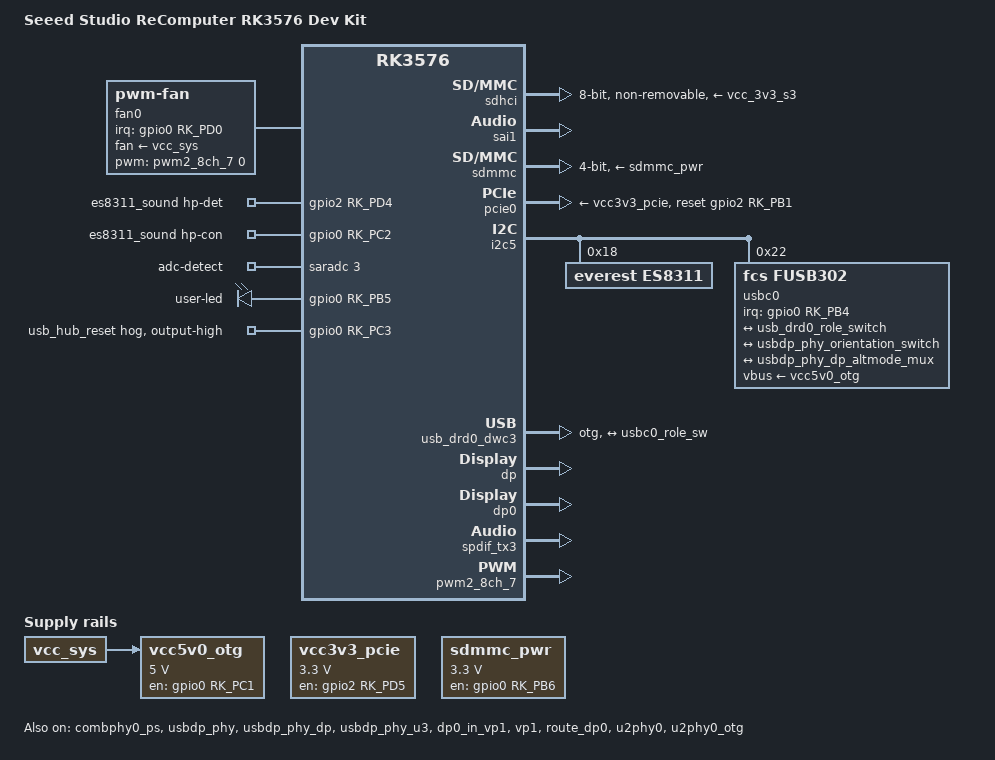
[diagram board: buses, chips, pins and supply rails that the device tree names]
// SPDX-License-Identifier: (GPL-2.0+ OR MIT)
/*
 * reComputer RK3576 Module Dev Kit
 *
 * Copyright (c) 2026 Seeed Studio
 */

/dts-v1/;
#include "rk3576-recomputer-som.dtsi"
#include "rk3576-recomputer-som-emmc.dtsi"
#include "rk3576-recomputer-som-cam.dtsi"
#include "rk3576-recomputer-som-cam0-i2c5-m2.dtsi"
#include "rk3576-recomputer-som-cam1-i2c6-m3.dtsi"
/ {
	model = "Seeed Studio ReComputer RK3576 Dev Kit";
	compatible = "seeed,recomputer rk3576 devkit", "rockchip,rk3576";

	/delete-node/ chosen;

	fan0: pwm-fan {
		status = "okay";
		compatible = "pwm-fan";
		#cooling-cells = <2>;
		cooling-levels = <0 50 100 150 200 255>;
		fan-supply = <&vcc_sys>;
		pwms = <&pwm2_8ch_7 0 60000 0>;

		interrupt-parent = <&gpio0>;
		interrupts = <RK_PD0 IRQ_TYPE_EDGE_BOTH>;
		pulses-per-revolution = <4>;
		pinctrl-names = "default";
		pinctrl-0 = <&fan_tach>;

		rockchip,temp-trips = <
            45000    1
            50000    2
            60000    3
            70000    4
            80000    5
        >;
	};

	vcc5v0_otg: vcc5v0-otg {
		compatible = "regulator-fixed";
		regulator-name = "vcc5v0_otg";
		regulator-min-microvolt = <5000000>;
		regulator-max-microvolt = <5000000>;
		enable-active-high;
		gpio = <&gpio0 RK_PC1 GPIO_ACTIVE_HIGH>;
		vin-supply = <&vcc_sys>;
		pinctrl-names = "default";
		pinctrl-0 = <&vcc5v0_otg_en>;
	};


	vcc3v3_pcie: vcc3v3-pcie {
		compatible = "regulator-fixed";
		regulator-name = "vcc3v3_pcie";
		regulator-min-microvolt = <3300000>;
		regulator-max-microvolt = <3300000>;
		enable-active-high;
		gpios = <&gpio2 RK_PD5 GPIO_ACTIVE_HIGH>;
		startup-delay-us = <5000>;
		pinctrl-names = "default";
		pinctrl-0 = <&pcie_pwr_en>;
	};

	sdmmc_pwr: sdmmc-pwr {
		compatible = "regulator-fixed";
		regulator-name = "sdmmc_pwr";
		regulator-min-microvolt = <3300000>;
		regulator-max-microvolt = <3300000>;
		enable-active-high;
		regulator-boot-on;
		regulator-always-on;
		gpios = <&gpio0 RK_PB6 GPIO_ACTIVE_HIGH>;
		pinctrl-names = "default";
		pinctrl-0 = <&sdmmc_pwr_en>;
	};

	dp0_sound: dp0-sound {
		compatible = "rockchip,hdmi";
		rockchip,mclk-fs = <512>;
		rockchip,card-name = "rockchip-dp0";
		rockchip,cpu = <&spdif_tx3>;
		rockchip,codec = <&dp0 1>;
		rockchip,jack-det;
	};


	es8311_sound: es8311-sound {
		status = "okay";
		compatible = "rockchip,multicodecs-card";
		rockchip,card-name = "rockchip-es8311";
		io-channels = <&saradc 3>;
		io-channel-names = "adc-detect";
		keyup-threshold-microvolt = <1800000>;
		poll-interval = <100>;
		hp-det-gpio = <&gpio2 RK_PD4 GPIO_ACTIVE_HIGH>;
		hp-con-gpio = <&gpio0 RK_PC2 GPIO_ACTIVE_HIGH>;
		rockchip,pre-power-on-delay-ms = <30>;
		rockchip,post-power-down-delay-ms = <40>;
		rockchip,format = "i2s";
		rockchip,mclk-fs = <256>;
		rockchip,cpu = <&sai1>;
		rockchip,codec = <&es8311>;
        rockchip,audio-routing =
            /* Playback path - Headphone from differential output */
            "Headphone", "DIFFERENTIAL OUT",
            /* Capture path - Analog microphone */
            "AMIC", "Main Mic",
            "AMIC", "Headset Mic";
		pinctrl-names = "default";
		pinctrl-0 = <&hp_det &hp_con>;
	};

	gpio-leds {
		compatible = "gpio-leds";

		// power-led {
		// 	gpios = <&gpio0 RK_PB4 GPIO_ACTIVE_HIGH>;
		// 	linux,default-trigger = "default-on";
		// };

		user-led {
			gpios = <&gpio0 RK_PB5 GPIO_ACTIVE_HIGH>;
			linux,default-trigger = "heartbeat";
		};
	};
};


&gpio0 {
    usb_hub_reset_hog: usb-hub-reset-hog {
        gpio-hog;
        gpios = <RK_PC3 GPIO_ACTIVE_HIGH>;
        output-high;              
        line-name = "usb_hub_reset";
    };
};

/*
 * Without this the OPP framework rejects all OPPs because
 * rockchip,supported-hw is set (bin-based matching) but the
 */
&gpu_opp_table {
	/delete-node/ opp-300000000;
	/delete-node/ opp-400000000;
	/delete-node/ opp-500000000;
	/delete-node/ opp-600000000;
	/delete-node/ opp-700000000;
	/delete-node/ opp-800000000;
	/delete-node/ opp-900000000;

	opp-300000000 {
		opp-hz = /bits/ 64 <300000000>;
		opp-microvolt = <712500 712500 875000>;
	};
	opp-400000000 {
		opp-hz = /bits/ 64 <400000000>;
		opp-microvolt = <712500 712500 875000>;
	};
	opp-500000000 {
		opp-hz = /bits/ 64 <500000000>;
		opp-microvolt = <712500 712500 875000>;
	};
	opp-600000000 {
		opp-hz = /bits/ 64 <600000000>;
		opp-microvolt = <712500 712500 875000>;
	};
	opp-700000000 {
		opp-hz = /bits/ 64 <700000000>;
		opp-microvolt = <712500 712500 875000>;
		opp-microvolt-L0 = <750000 750000 875000>;
		opp-microvolt-L1 = <750000 750000 875000>;
		opp-microvolt-L2 = <737500 737500 875000>;
		opp-microvolt-L3 = <725000 725000 875000>;
		opp-microvolt-L4 = <725000 725000 875000>;
	};
	opp-800000000 {
		opp-hz = /bits/ 64 <800000000>;
		opp-microvolt = <812500 812500 875000>;
		opp-microvolt-L1 = <812500 812500 875000>;
		opp-microvolt-L2 = <800000 800000 875000>;
		opp-microvolt-L3 = <787500 787500 875000>;
		opp-microvolt-L4 = <775000 775000 875000>;
		opp-microvolt-L5 = <762500 762500 875000>;
		opp-microvolt-L6 = <750000 750000 875000>;
		opp-microvolt-L7 = <737500 737500 875000>;
		opp-microvolt-L8 = <725000 725000 875000>;
		opp-microvolt-L9 = <725000 725000 875000>;
		opp-microvolt-L10 = <725000 725000 875000>;
	};
	opp-900000000 {
		opp-hz = /bits/ 64 <900000000>;
		opp-microvolt = <875000 875000 875000>;
		opp-microvolt-L1 = <875000 875000 875000>;
		opp-microvolt-L2 = <862500 862500 875000>;
		opp-microvolt-L3 = <850000 850000 875000>;
		opp-microvolt-L4 = <837500 837500 875000>;
		opp-microvolt-L5 = <825000 825000 875000>;
		opp-microvolt-L6 = <812500 812500 875000>;
		opp-microvolt-L7 = <800000 800000 875000>;
		opp-microvolt-L8 = <787500 787500 875000>;
		opp-microvolt-L9 = <775000 775000 875000>;
		opp-microvolt-L10 = <762500 762500 875000>;
	};
};

&threshold {
	temperature = <60000>;
};

&little_core_thermal {
	sustainable-power = <5000>; /* milliwatts */
	cooling-maps {
		map3 {
			trip = <&target>;
			cooling-device =
				<&fan0 THERMAL_NO_LIMIT THERMAL_NO_LIMIT>;
			contribution = <8192>;
		};
		map4 {
			trip = <&threshold>;
			cooling-device =
				<&fan0 THERMAL_NO_LIMIT THERMAL_NO_LIMIT>;
			contribution = <8192>;
		};
	};
};

&sdhci {
	bus-width = <8>;
	no-sdio;
	no-sd;
	non-removable;
	max-frequency = <200000000>;
	mmc-hs400-1_8v;
	mmc-hs400-enhanced-strobe;
	full-pwr-cycle-in-suspend;
	vmmc-supply = <&vcc_3v3_s3>;
	vqmmc-supply = <&vcc_1v8_s3>;
	pinctrl-names = "default";
	pinctrl-0 = <&emmc_bus8 &emmc_clk &emmc_cmd &emmc_strb>;
	status = "okay";
};

&sai1 {
	status = "okay";
	rockchip,sai-rx-route = <0 1 2 3>;
 	rockchip,sai-tx-route = <0 1 2 3>;
	pinctrl-names = "default";
	pinctrl-0 = <&sai1m0_lrck
		     &sai1m0_sclk
		     &sai1m0_sdi0
		     &sai1m0_sdo0>;
};

&sdmmc {
        max-frequency = <100000000>;
        pinctrl-0 = <&sdmmc0_clk &sdmmc0_cmd &sdmmc0_det &sdmmc0_bus4>;
        pinctrl-names = "default";
        no-sdio;
        no-mmc;
        bus-width = <4>;
        cap-mmc-highspeed;
        cap-sd-highspeed;
        disable-wp;
        sd-uhs-sdr104;
        vqmmc-supply = <&vccio_sd_s0>;
        vmmc-supply = <&sdmmc_pwr>;
        status = "okay";
};

&combphy0_ps {
	status = "okay";
};

&pcie0 {
	pinctrl-names = "default";
	pinctrl-0 = <&pcie0m0_pins>;
	reset-gpios = <&gpio2 RK_PB1 GPIO_ACTIVE_HIGH>;
	rockchip,skip-scan-in-resume;
	rockchip,perst-inactive-ms = <500>;
	vpcie3v3-supply = <&vcc3v3_pcie>;
	status = "okay";
};

&i2c5 {
	status = "okay";
	pinctrl-0 = <&i2c5m2_xfer>;

	es8311: es8311@18 {
		status = "okay";
		compatible = "everest,es8311";
		reg = <0x18>;
		#sound-dai-cells = <0>;
		adc-pga-gain = <6>;     /* 18dB */
		adc-volume = <0xbf>;    /* 0dB */
		dac-volume = <0xbf>;    /* 0dB */
		aec-mode = "adc left, adc right";
		clocks = <&mclkout_sai1>;
		clock-names = "mclk";
		assigned-clocks = <&mclkout_sai1>;
		assigned-clock-rates = <12288000>;
		pinctrl-names = "default";
		pinctrl-0 = <&sai1m0_mclk>;
	};

	/* Typec Controller Fusb302 */
	usbc0: fusb302@22 {
		compatible = "fcs,fusb302";
		reg = <0x22>;
		interrupt-parent = <&gpio0>;
		interrupts = <RK_PB4 IRQ_TYPE_LEVEL_LOW>;
		pinctrl-names = "default";
		pinctrl-0 = <&aw35615_int>;
		vbus-supply = <&vcc5v0_otg>;
		status = "okay";

		ports {
			#address-cells = <1>;
			#size-cells = <0>;

			port@0 {
				reg = <0>;
				usbc0_role_sw: endpoint@0 {
					remote-endpoint = <&usb_drd0_role_switch>;
				};
			};
		};

		usb_con: connector {
			compatible = "usb-c-connector";
			label = "USB-C";
			data-role = "dual";
			power-role = "dual";
			try-power-role = "sink";
			op-sink-microwatt = <1000000>;
			sink-pdos =
				<PDO_FIXED(5000, 1000, PDO_FIXED_USB_COMM)>;
			source-pdos =
				<PDO_FIXED(5000, 3000, PDO_FIXED_USB_COMM)>;

			altmodes {
				#address-cells = <1>;
				#size-cells = <0>;

				altmode@0 {
					reg = <0>;
					svid = <0xff01>;
					vdo = <0xffffffff>;
				};
			};

			ports {
				#address-cells = <1>;
				#size-cells = <0>;

				port@0 {
					reg = <0>;
					usbc0_orien_sw: endpoint {
						remote-endpoint = <&usbdp_phy_orientation_switch>;
					};
				};

				port@1 {
					reg = <1>;
					dp_altmode_mux: endpoint {
						remote-endpoint = <&usbdp_phy_dp_altmode_mux>;
					};
				};
			};
		};
	};
};

/* USB3 OTG0/DP1.4 Alt */
&usbdp_phy {
	orientation-switch;
	svid = <0xff01>;
	sbu1-dc-gpios = <&gpio4 RK_PC4 GPIO_ACTIVE_HIGH>;
	sbu2-dc-gpios = <&gpio4 RK_PC5 GPIO_ACTIVE_HIGH>;
	status = "okay";

	port {
		#address-cells = <1>;
		#size-cells = <0>;

		usbdp_phy_orientation_switch: endpoint@0 {
			reg = <0>;
			remote-endpoint = <&usbc0_orien_sw>;
		};

		usbdp_phy_dp_altmode_mux: endpoint@1 {
			reg = <1>;
			remote-endpoint = <&dp_altmode_mux>;
		};
	};
};

&usbdp_phy_dp {
	status = "okay";
};

&usbdp_phy_u3 {
	status = "okay";
};

&usb_drd0_dwc3 {
	dr_mode = "otg";
	usb-role-switch;
	status = "okay";
	snps,parkmode-disable-hs-quirk;
	snps,parkmode-disable-ss-quirk;
	snps,dis_u3_susphy_quirk;
	snps,dis_u2_susphy_quirk;
	port {
		usb_drd0_role_switch: endpoint {
			remote-endpoint = <&usbc0_role_sw>;
		};
	};
};

/* DP */
&dp {
	status = "okay";
};

&dp0 {
	status = "okay";
};

&dp0_in_vp0 {
	status = "disabled";
};

&dp0_in_vp1 {
	status = "okay";
};

&dp0_in_vp2 {
	status = "disabled";
};

&vp1 {
	status = "okay";
};

&route_dp0 {
	status = "okay";
	connect = <&vp1_out_dp0>;
};

&dp0_sound {
	status = "okay";
};

&spdif_tx3 {
	status = "okay";
};

/* USB2 OTG0 */
&u2phy0 {
	status = "okay";
};

&u2phy0_otg {
	rockchip,typec-vbus-det;
	status = "okay";
};


&pwm2_8ch_7 {
	pinctrl-0 = <&pwm2m2_ch7>;
	status = "okay";
};

&pinctrl {

	i2c4 {
		i2c4m1_xfer_pullup: i2c4m1-xfer-pullup {
			rockchip,pins =
				<4 RK_PA4 11 &pcfg_pull_up_smt>,
				<4 RK_PA6 11 &pcfg_pull_up_smt>;
		};
	};

	i2c7 {
		i2c7m1_xfer_pullup: i2c7m1-xfer-pullup {
			rockchip,pins =
				<3 RK_PA0 11 &pcfg_pull_up_smt>,
				<3 RK_PA1 11 &pcfg_pull_up_smt>;
		};
	};

	i2c8 {
		i2c8m2_xfer_pullup: i2c8m2-xfer-pullup {
			rockchip,pins =
				<2 RK_PB6 11 &pcfg_pull_up_smt>,
				<2 RK_PB7 11 &pcfg_pull_up_smt>;
		};
	};

	headphone {
		hp_det: hp-det {
			rockchip,pins = <2 RK_PD4 RK_FUNC_GPIO &pcfg_pull_up>;
		};
		hp_con: hp-con {
			rockchip,pins = <0 RK_PC2 RK_FUNC_GPIO &pcfg_pull_up>;
		};
	};

	sdmmc{
		sdmmc_pwr_en: sdmmc-pwr-en {
			rockchip,pins = <0 RK_PB6 RK_FUNC_GPIO &pcfg_pull_none>;
		};
	};

	gpio_exp_en{
		vsys_3v3_exp_en: vsys-3v3-exp-en {
			rockchip,pins = <2 RK_PA7 RK_FUNC_GPIO &pcfg_pull_none>;
		};
	};

	usb {
		// TYPE-C 
		aw35615_int: aw35615-int {
			rockchip,pins = <0 RK_PB4 RK_FUNC_GPIO &pcfg_pull_up>;
		};
	};

	pcie {
		pcie_pwr_en: pcie-pwr-en {
			rockchip,pins = <2 RK_PD5 RK_FUNC_GPIO &pcfg_pull_none>;
		};
	};


	fan {
		fan_tach: fan-tach {
			rockchip,pins = <0 RK_PD0 RK_FUNC_GPIO &pcfg_pull_up>;
        };
    };

	vcc5v0_otg {
		vcc5v0_otg_en: vcc5v0-otg-en {
			rockchip,pins = <0 RK_PC1 RK_FUNC_GPIO &pcfg_pull_up>;
		};
	};

};

&gpio0 {
	gpio-line-names =
		/* GPIO0_A0-A3 */
		"", "", "", "",
		/* GPIO0_A4-A7 */
		"", "", "", "",

		/* GPIO0_B0-B3 */
		"", "", "", "",
		/* GPIO0_B4-B7 */
		"", "", "", "",

		/* GPIO0_C0-C3 */
		"", "", "", "",
		/* GPIO0_C4-C7 */
		"PIN_33", "", "PIN_5", "PIN_3",

		/* GPIO0_D0-D3 */
		"", "", "", "",
		/* GPIO0_D4-D7 */
		"PIN_8", "PIN_10", "", "";
};

&gpio1 {
	gpio-line-names =
		/* GPIO1_A0-A3 */
		"", "", "", "",
		/* GPIO1_A4-A7 */
		"", "", "", "",

		/* GPIO1_B0-B3 */
		"", "", "", "",
		/* GPIO1_B4-B7 */
		"", "", "", "",

		/* GPIO1_C0-C3 */
		"", "", "", "",
		/* GPIO1_C4-C7 */
		"", "", "", "",

		/* GPIO1_D0-D3 */
		"", "", "", "",
		/* GPIO1_D4-D7 */
		"", "", "", "";
};

&gpio2 {
	gpio-line-names =
		/* GPIO2_A0-A3 */
		"", "", "", "",
		/* GPIO2_A4-A7 */
		"", "", "", "",

		/* GPIO2_B0-B3 */
		"", "", "", "",
		/* GPIO2_B4-B7 */
		"PIN_37", "PIN_35", "PIN_29", "PIN_31",

		/* GPIO2_C0-C3 */
		"PIN_32", "PIN_26", "PIN_19", "PIN_21",
		/* GPIO2_C4-C7 */
		"PIN_24", "PIN_23", "", "",

		/* GPIO2_D0-D3 */
		"PIN_16", "PIN_18", "", "",
		/* GPIO2_D4-D7 */
		"", "", "PIN_12", "";
};

&gpio3 {
	gpio-line-names =
		/* GPIO3_A0-A3 */
		"PIN_7", "PIN_22", "PIN_15", "PIN_36",
		/* GPIO3_A4-A7 */
		"", "", "", "",

		/* GPIO3_B0-B3 */
		"", "", "", "",
		/* GPIO3_B4-B7 */
		"", "", "", "",

		/* GPIO3_C0-C3 */
		"", "", "", "",
		/* GPIO3_C4-C7 */
		"", "", "", "",

		/* GPIO3_D0-D3 */
		"", "", "", "",
		/* GPIO3_D4-D7 */
		"", "", "", "";
};

&gpio4 {
	gpio-line-names =
		/* GPIO4_A0-A3 */
		"", "", "", "",
		/* GPIO4_A4-A7 */
		"PIN_38", "", "PIN_40", "",

		/* GPIO4_B0-B3 */
		"", "", "", "",
		/* GPIO4_B4-B7 */
		"PIN_11", "PIN_13", "", "",

		/* GPIO4_C0-C3 */
		"", "", "", "",
		/* GPIO4_C4-C7 */
		"", "", "PIN_28", "PIN_27",

		/* GPIO4_D0-D3 */
		"", "", "", "",
		/* GPIO4_D4-D7 */
		"", "", "", "";
};
